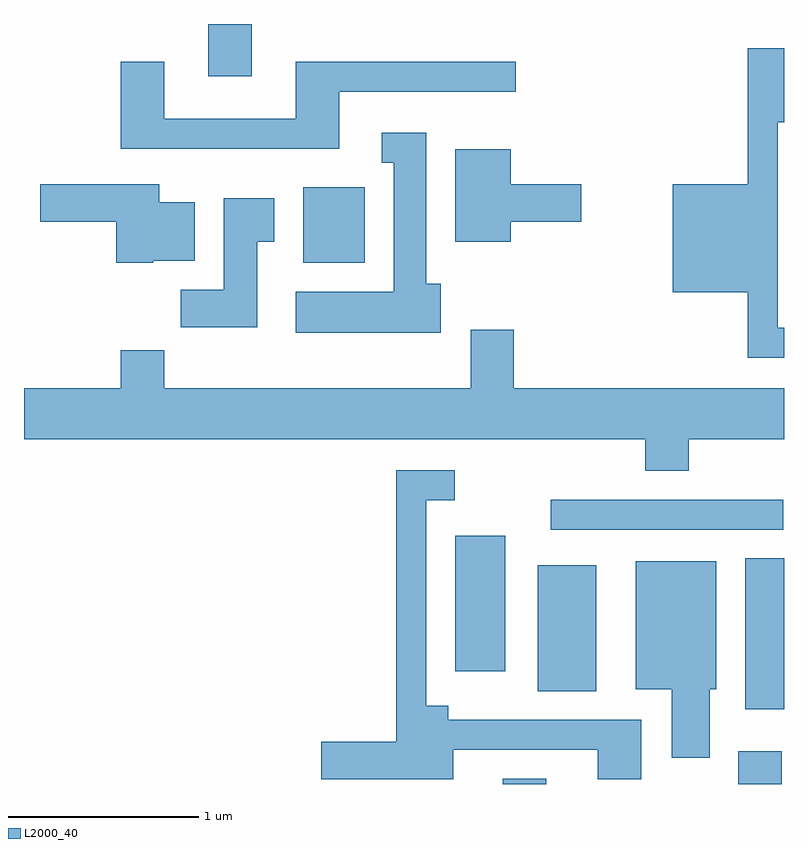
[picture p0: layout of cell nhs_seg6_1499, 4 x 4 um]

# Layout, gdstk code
import gdstk
lib = gdstk.Library(unit=1e-6, precision=1e-09)
def R(c, l, rs):  # rectangles x0, y0, x1, y1
    for r in rs: c.add(gdstk.rectangle(r[:2], r[2:], *l))
def P(c, l, *ps):  # polygons
    for p in ps: c.add(gdstk.Polygon(p, *l))
L2000_40 = (2000, 40)

nhs_seg6_1499 = lib.new_cell('nhs_seg6_1499')
R(nhs_seg6_1499, L2000_40, [(232.131,1608.162,232.359,1608.189), (233.371,1608.162,233.599,1608.334), (233.406,1608.556,233.611,1609.349), (232.316,1608.651,232.624,1609.314), (231.881,1608.756,232.144,1609.469), (232.383,1609.501,233.608,1609.659), (231.081,1610.906,231.404,1611.304), (230.581,1611.886,230.809,1612.162)])
P(nhs_seg6_1499, L2000_40, [(233.611,1610.564),(233.579,1610.564),(233.579,1611.646),(233.611,1611.646),(233.611,1612.034),(233.421,1612.034),(233.421,1611.319),(233.026,1611.319),(233.026,1610.751),(233.421,1610.751),(233.421,1610.406),(233.611,1610.406)],
  [(231.269,1611.806),(232.198,1611.806),(232.198,1611.964),(231.041,1611.964),(231.041,1611.664),(230.349,1611.664),(230.349,1611.964),(230.121,1611.964),(230.121,1611.506),(231.269,1611.506)],
  [(231.804,1610.794),(231.729,1610.794),(231.729,1611.589),(231.493,1611.589),(231.493,1611.431),(231.556,1611.431),(231.556,1610.754),(231.041,1610.754),(231.041,1610.536),(231.804,1610.536)],
  [(232.174,1611.121),(232.544,1611.121),(232.544,1611.319),(232.174,1611.319),(232.174,1611.504),(231.881,1611.504),(231.881,1611.016),(232.174,1611.016)],
  [(230.29,1610.916),(230.509,1610.916),(230.509,1611.224),(230.324,1611.224),(230.324,1611.319),(229.696,1611.319),(229.696,1611.121),(230.096,1611.121),(230.096,1610.906),(230.29,1610.906)],
  [(230.839,1611.016),(230.929,1611.016),(230.929,1611.244),(230.661,1611.244),(230.661,1610.764),(230.436,1610.764),(230.436,1610.566),(230.839,1610.566)],
  [(233.109,1609.976),(233.611,1609.976),(233.611,1610.244),(232.189,1610.244),(232.189,1610.554),(231.961,1610.554),(231.961,1610.244),(230.349,1610.244),(230.349,1610.444),(230.121,1610.444),(230.121,1610.244),(229.611,1610.244),(229.611,1609.976),(232.881,1609.976),(232.881,1609.811),(233.109,1609.811)],
  [(231.869,1608.341),(232.631,1608.341),(232.631,1608.186),(232.859,1608.186),(232.859,1608.499),(231.844,1608.499),(231.844,1608.574),(231.729,1608.574),(231.729,1609.656),(231.878,1609.656),(231.878,1609.814),(231.571,1609.814),(231.571,1608.384),(231.176,1608.384),(231.176,1608.186),(231.869,1608.186)],
  [(233.219,1608.661),(233.254,1608.661),(233.254,1609.334),(232.831,1609.334),(232.831,1608.661),(233.021,1608.661),(233.021,1608.301),(233.219,1608.301)])

lib.write_gds('nhs_seg6_1499.gds')
